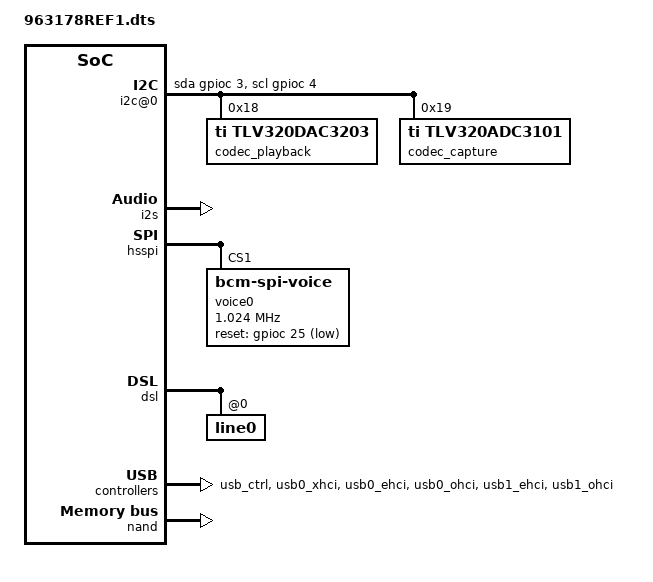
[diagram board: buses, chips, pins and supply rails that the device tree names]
#include "63178.dtsi"
#include "../bcm_voice.dtsi"

/ {
    memory_controller {
        memcfg = <(BP_DDR_SPEED_800_11_11_11 | \
                   BP_DDR_TOTAL_SIZE_1024MB  | \
                   BP_DDR_DEVICE_WIDTH_8     | \
                   BP_DDR_TOTAL_WIDTH_16BIT  | \
                   BP_DDR_63178_DEFAULT)>;
    };

	buttons {
		compatible = "brcm,buttons";
		reset_button {
			ext_irq = <&bca_extintr 0 GPIO_ACTIVE_LOW (BCA_EXTINTR_TYPE_LOW_LEVEL | BCA_EXTINTR_TYPE_SENSE_EDGE)>;
			press {
				print = "Button Press -- Hold for 5s to do restore to default";
			};
			hold {
				rst_to_dflt = <5>;
			};
			release {
				reset = <0>;
			};	
		};
		ses_button {
			ext_irq = <&bca_extintr 1 GPIO_ACTIVE_LOW (BCA_EXTINTR_TYPE_LOW_LEVEL | BCA_EXTINTR_TYPE_SENSE_EDGE)>;
			release {
				ses_short_period = <0>;
				ses_long_period = <3>;
			};
		};
	};
};

/{
	periph {

		i2c@0 {
			compatible = "i2c-gpio";
			gpios = <&gpioc 3 0 &gpioc 4 0>;/* sda and scl */
			i2c-gpio,delay-us   = <50>;     /* ~10 kHz */
			i2c-gpio,timeout-ms = <100>;    /* 100ms */
			#address-cells = <1>;
			#size-cells = <0>;

			codec_playback:codec_playback@18{
		  compatible = "ti,tlv320dac3203";
		  reg = <0x18>;
		  };
			codec_capture:codec_capture@19{
		  compatible = "ti,tlv320adc3101";
		  reg = <0x19>;
		  };
		};

		i2s: bcm63xx-i2s {
			pinctrl-0 = <&b_i2s_sclk_pin_6 &b_i2s_lrck_pin_7 &b_i2s_rx_sdata_pin_8 &b_i2s_tx_sdata_pin_9 &b_i2s_mclk_pin_10>;
			pinctrl-names = "default";
			compatible = "brcm,bcm63xx-i2s";
			reg = <0x2080 0x21>;
			interrupts = <GIC_SPI 78 IRQ_TYPE_LEVEL_HIGH>;
			clocks = <&i2sclk>, <&osc>;
			clock-names = "i2sclk","i2sosc"; 
		};
	};

};

&switch0 {
    /* Port PHY mapping:
            port_imp -8#0- port_gphy0 <--> phy_gphy0
                      # 1- port_gphy1 <--> phy_gphy1
                      # 2- port_gphy2 <--> phy_gphy2
                      # 3- port_gphy3 <--> phy_gphy3
                      ##4- port_gphy4 <--> phy_gphy4
     */
	ports {
		port_gphy0 {
			network-leds = <&led0 &led15>;
			status = "okay";
		};

		port_gphy1 {
			network-leds = <&led2 &led16>;
			status = "okay";
		};

		port_gphy2 {
			network-leds = <&led4 &led17>;
			status = "okay";
		};

		port_gphy3 {
			network-leds = <&led6 &led18>;
			status = "okay";
		};

		port_gphy4 {
			network-leds = <&led8 &led19>;
			status = "okay";
		};
	};
};

&legacy_leds {
	adsl-led = <&led30>;
	wan-data-led = <&led23>;
	wl0-led = <&led28>;
	wl-sess-led = <&led29>;
};

&led_ctrl {
    pinctrl-names = "default";
    pinctrl-0 = <&b_ser_led_clk_pin_27 &b_ser_led_data_pin_26 &b_ser_led_mask_pin_28>;
    serial-shifters-installed = <2>;
    serial-data-polarity-high;
    led0: port_0-led_0-bit_0 {
        active_high;
        link = <(LED_SPEED_100|LED_SPEED_1G)>;
        status = "okay";
    };
    led2: port_1-led_0-bit_2 {
        active_high;
        link = <(LED_SPEED_100|LED_SPEED_1G)>;
        status = "okay";
    };
    led4: port_2-led_0-bit_4 {
        active_high;
        link = <(LED_SPEED_100|LED_SPEED_1G)>;
        status = "okay";
    };
    led6: port_3-led_0-bit_6 {
        active_high;
        link = <(LED_SPEED_100|LED_SPEED_1G)>;
        status = "okay";
    };
    led8: port_4-led_0-bit_8 {
        active_high;
        link = <(LED_SPEED_100|LED_SPEED_1G)>;
        status = "okay";
    };
    led15: port_0-led_3-bit_15 {
        active_high;
        activity = <LED_SPEED_GBE>;
        status = "okay";
    };
    led16: port_1-led_3-bit_16 {
        active_high;
        activity = <LED_SPEED_GBE>;
        status = "okay";
    };
    led17: port_2-led_3-bit_17 {
        active_high;
        activity = <LED_SPEED_GBE>;
        status = "okay";
    };
    led18: port_3-led_3-bit_18 {
        active_high;
        activity = <LED_SPEED_GBE>;
        status = "okay";
    };
    led19: port_4-led_3-bit_19 {
        active_high;
        activity = <LED_SPEED_GBE>;
        status = "okay";
    };
    led23: dsl_act_0-bit_23 {
        active_high;
        status = "okay";
    };
    led26: sw_led-bit_26 {
        active_high;
        status = "okay";
    };
    led27: sw_led-bit_27 {
        active_high;
        status = "okay";
    };
    led28: sw_led-bit_28 {
        active_high;
        status = "okay";
    };
    led29: sw_led-bit_29 {
        active_high;
        status = "okay";
    };
    led30: sw_led-bit_30 {
        active_high;
        status = "okay";
    };
};

&bcm_voice{
	sliclist = SLICSLAC_LIST_COMMON_NOFXO;
 };

&hsspi {
	voice0 {
		pinctrl-0 = <&spim_ss1_b_pin_80>;
		pinctrl-names = "default";
		compatible = "bcm-spi-voice";
		reg = <1>; /* chip select 1 */
		spi-max-frequency = <1024000>;
		reset-gpio = <&gpioc 25 GPIO_ACTIVE_LOW>;
		spi-index = <0>;/* voice header index */
	};	
};
&vreg_sync {
		pinctrl-0 = <&vreg_sync_pin_2>;
		pinctrl-names = "default";
};

&dsl {
	line0@0 {
		pinctrl-0 = <&vdsl_ctrl_0_pin_17 &vdsl_ctrl_1_pin_18 &vdsl_ctrl_2_pin_19>;
		pinctrl-names = "default";

		afeid = <(DSL_AFE_CHIP_CH0 | DSL_AFE_LD_6303 | DSL_AFE_FE_ANNEXA | DSL_AFE_FE_REV_6303_REV_12_3_70)>;
		afe-pwr-ctl = <DSL_AFE_VDSLCTL_0>;
		afe-data-ctl = <DSL_AFE_VDSLCTL_1>;
		afe-clk-ctl = <DSL_AFE_VDSLCTL_2>;
		status = "okay";
	};
};

&hs_uart0 {
	pinctrl-0 = <&b_hs_uart_cts_pin_22 &b_hs_uart_rts_pin_12 &b_hs_uart_sin_pin_21 &b_hs_uart_sout_pin_20>;
	pinctrl-names = "default";
};

&usb_ctrl {
	pinctrl-names="default";
	pinctrl-0 = <&usb0a_pwrflt_pin_83 &usb0a_pwron_pin_84 &usb1a_pwrflt_pin_85 &usb1a_pwron_pin_86>;
	status = "okay";
	xhci-enable;
};

&usb0_xhci {
	status = "okay";
};

&usb0_ehci {
	status = "okay";
};

&usb0_ohci {
	status = "okay";
};

&usb1_ehci {
	status = "okay";
};
&usb1_ohci {
	status = "okay";
};

&pincontroller {
	pinctrl-names = "default";
	pinctrl-0 = <&a_wl_gci_00_pin_30 &a_wl_gci_01_pin_33 &a_wl_gci_02_pin_32 &a_wl_gci_03_pin_31>;
};

&nand {
	status = "okay";
};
